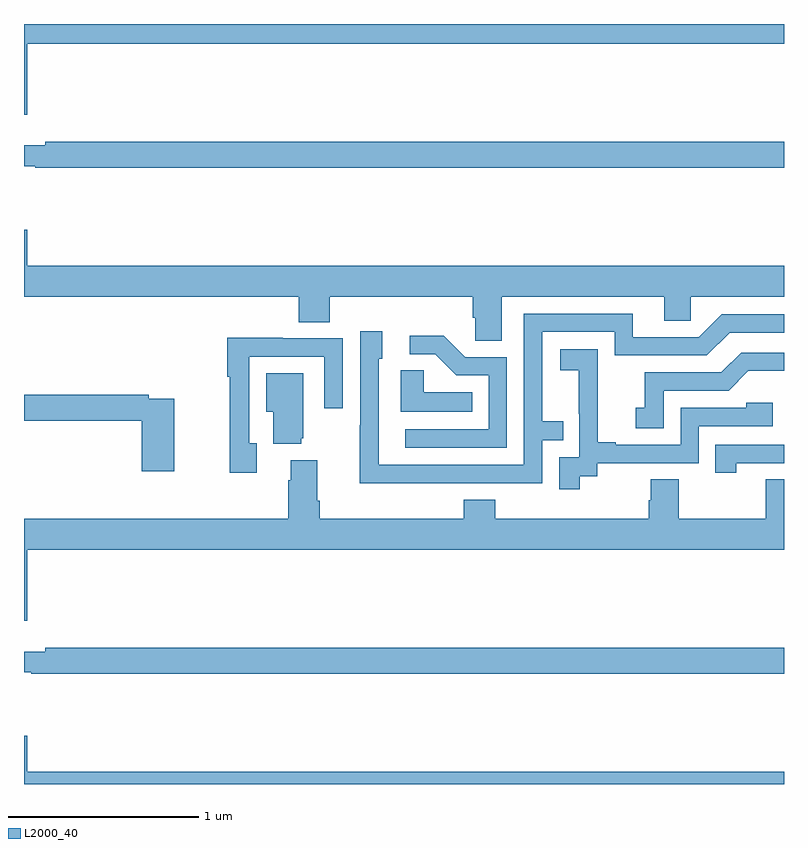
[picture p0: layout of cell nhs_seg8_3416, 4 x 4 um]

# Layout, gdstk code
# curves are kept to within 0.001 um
import gdstk
lib = gdstk.Library(unit=1e-6, precision=1e-09)
def P(c, l, *ps):  # polygons
    for p in ps: c.add(gdstk.Polygon(p, *l))
L2000_40 = (2000, 40)

nhs_seg8_3416 = lib.new_cell('nhs_seg8_3416')
P(nhs_seg8_3416, L2000_40, [(325,1153.9),(321,1153.9),(321,1153.422),(321.016,1153.422),(321.016,1153.796),(325,1153.796)],
  [(325,1153.28),(321.112,1153.28),(321.112,1153.261),(321,1153.261),(321,1153.152),(321.058,1153.152),(321.058,1153.144),(325,1153.144)],
  [(323.515,1152.464),(324.371,1152.464),(324.371,1152.337),(324.51,1152.337),(324.51,1152.464),(325,1152.464),(325,1152.628),(321.016,1152.628),(321.016,1152.817),(321,1152.817),(321,1152.464),(322.445,1152.464),(322.445,1152.331),(322.61,1152.331),(322.61,1152.464),(323.363,1152.464),(323.363,1152.355),(323.376,1152.355),(323.376,1152.232),(323.515,1152.232)],
  [(323.231,1151.484),(323.727,1151.484),(323.727,1151.709),(323.837,1151.709),(323.837,1151.81),(323.727,1151.81),(323.727,1152.279),(324.108,1152.279),(324.108,1152.156),(324.594,1152.156),(324.714,1152.276),(325,1152.276),(325,1152.372),(324.672,1152.372),(324.552,1152.252),(324.205,1152.252),(324.205,1152.375),(323.631,1152.375),(323.631,1151.58),(322.866,1151.58),(322.866,1152.138),(322.885,1152.138),(322.885,1152.283),(322.77,1152.283),(322.77,1151.789),(322.768,1151.789),(322.768,1151.483)],
  [(323.541,1152.147),(323.322,1152.147),(323.209,1152.26),(323.031,1152.26),(323.031,1152.162),(323.165,1152.162),(323.276,1152.051),(323.445,1152.051),(323.445,1151.766),(323.007,1151.766),(323.007,1151.67),(323.541,1151.67)],
  [(322.225,1151.694),(322.185,1151.694),(322.185,1152.15),(322.581,1152.15),(322.581,1151.877),(322.677,1151.877),(322.677,1152.246),(322.361,1152.246),(322.361,1152.248),(322.069,1152.248),(322.069,1152.043),(322.084,1152.043),(322.084,1151.538),(322.225,1151.538)],
  [(323.926,1151.521),(324.018,1151.521),(324.018,1151.589),(324.552,1151.589),(324.552,1151.784),(324.941,1151.784),(324.941,1151.907),(324.801,1151.907),(324.801,1151.88),(324.456,1151.88),(324.456,1151.685),(324.115,1151.685),(324.115,1151.698),(324.02,1151.698),(324.02,1151.981),(324.021,1151.981),(324.021,1152.187),(323.823,1152.187),(323.823,1152.077),(323.921,1152.077),(323.921,1151.849),(323.922,1151.849),(323.922,1151.619),(323.817,1151.619),(323.817,1151.451),(323.926,1151.451)],
  [(324.366,1151.97),(324.708,1151.97),(324.812,1152.074),(325,1152.074),(325,1152.171),(324.776,1152.171),(324.671,1152.066),(324.268,1152.066),(324.268,1151.881),(324.219,1151.881),(324.219,1151.772),(324.366,1151.772)],
  [(323.36,1151.962),(323.103,1151.962),(323.103,1152.077),(322.982,1152.077),(322.982,1151.858),(323.36,1151.858)],
  [(322.46,1151.721),(322.471,1151.721),(322.471,1152.061),(322.274,1152.061),(322.274,1151.858),(322.313,1151.858),(322.313,1151.69),(322.46,1151.69)],
  [(321.79,1151.928),(321.656,1151.928),(321.656,1151.948),(321,1151.948),(321,1151.812),(321.62,1151.812),(321.62,1151.547),(321.79,1151.547)],
  [(324.748,1151.589),(325,1151.589),(325,1151.685),(324.637,1151.685),(324.637,1151.538),(324.748,1151.538)],
  [(321.016,1151.132),(325,1151.132),(325,1151.504),(324.904,1151.504),(324.904,1151.296),(324.447,1151.296),(324.447,1151.504),(324.299,1151.504),(324.299,1151.394),(324.287,1151.394),(324.287,1151.296),(323.48,1151.296),(323.48,1151.395),(323.315,1151.395),(323.315,1151.296),(322.556,1151.296),(322.556,1151.392),(322.543,1151.392),(322.543,1151.605),(322.403,1151.605),(322.403,1151.498),(322.391,1151.498),(322.391,1151.296),(321,1151.296),(321,1150.758),(321.016,1150.758)],
  [(325,1150.616),(321.112,1150.616),(321.112,1150.597),(321,1150.597),(321,1150.488),(321.038,1150.488),(321.038,1150.48),(325,1150.48)],
  [(325,1149.964),(321.016,1149.964),(321.016,1150.153),(321,1150.153),(321,1149.9),(325,1149.9)])

lib.write_gds('nhs_seg8_3416.gds')
